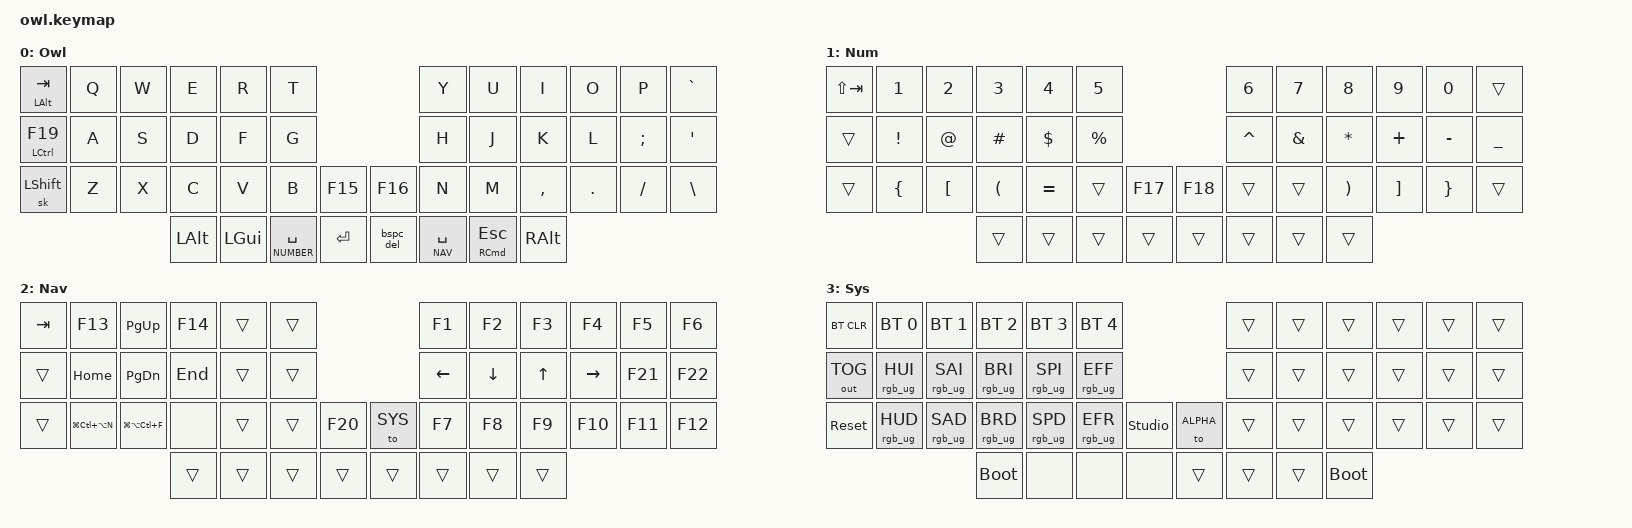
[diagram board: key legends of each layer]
/*
 * Copyright (c) 2020 The ZMK Contributors
 *
 * SPDX-License-Identifier: MIT
 */

#include <behaviors.dtsi>
#include <dt-bindings/zmk/bt.h>
#include <dt-bindings/zmk/keys.h>
#include <dt-bindings/zmk/outputs.h>
#include <dt-bindings/zmk/rgb.h>

#define ALPHA 0
#define NUMBER 1
#define NAV 2
#define SYS 3

&lt {
    flavor = "balanced";
    tapping-term-ms = <200>;
    quick-tap-ms = <175>;
    require-prior-idle-ms = <125>;
};

/ {
    behaviors {
        bspc_del: bspc_del {
            compatible = "zmk,behavior-mod-morph";
            #binding-cells = <0>;
            bindings = <&kp BACKSPACE>, <&kp DELETE>;
            mods = <(MOD_LSFT|MOD_RSFT)>;
            keep-mods = <0>;
        };
    };

    combos {
        compatible = "zmk,combos";

        combo_capsword {
            timeout-ms = <60>;
            require-prior-idle-ms = <125>;
            key-positions = <16 19>;
            bindings = <&caps_word>;
            layers = <ALPHA>;
        };

        combo_lbrc {
            timeout-ms = <45>;
            require-prior-idle-ms = <125>;
            key-positions = <25 26>;
            bindings = <&kp LBRC>;
            layers = <ALPHA>;
        };

        combo_lbkt {
            timeout-ms = <45>;
            require-prior-idle-ms = <125>;
            key-positions = <26 27>;
            bindings = <&kp LBKT>;
            layers = <ALPHA>;
        };

        combo_lpar {
            timeout-ms = <45>;
            require-prior-idle-ms = <125>;
            key-positions = <27 28>;
            bindings = <&kp LPAR>;
            layers = <ALPHA>;
        };

        combo_rpar {
            timeout-ms = <45>;
            require-prior-idle-ms = <125>;
            key-positions = <33 34>;
            bindings = <&kp RPAR>;
            layers = <ALPHA>;
        };

        combo_rbkt {
            timeout-ms = <45>;
            require-prior-idle-ms = <125>;
            key-positions = <34 35>;
            bindings = <&kp RBKT>;
            layers = <ALPHA>;
        };

        combo_rbrc {
            timeout-ms = <45>;
            require-prior-idle-ms = <125>;
            key-positions = <35 36>;
            bindings = <&kp RBRC>;
            layers = <ALPHA>;
        };
    };

    keymap {
        compatible = "zmk,keymap";

        alpha {
            display-name = "Owl";
            bindings = <
&mt LEFT_ALT TAB  &kp Q  &kp W  &kp E     &kp R     &kp T                          &kp Y        &kp U         &kp I      &kp O    &kp P     &kp GRAVE
&mt LCTRL F19     &kp A  &kp S  &kp D     &kp F     &kp G                          &kp H        &kp J         &kp K      &kp L    &kp SEMI  &kp SQT
&sk LSHFT         &kp Z  &kp X  &kp C     &kp V     &kp B        &kp F15  &kp F16  &kp N        &kp M         &kp COMMA  &kp DOT  &kp FSLH  &kp BSLH
                                &kp LALT  &kp LGUI  &lt NUMBER SPACE  &kp RET  &bspc_del  &lt NAV SPACE  &mt RCMD ESC  &kp RALT
            >;
        };

        number {
            display-name = "Num";
            bindings = <
&kp LS(TAB)  &kp N1           &kp N2       &kp N3                &kp N4      &kp N5                         &kp N6     &kp N7         &kp N8                 &kp N9    &kp N0           &trans
&trans       &kp EXCLAMATION  &kp AT_SIGN  &kp POUND             &kp DOLLAR  &kp PERCENT                    &kp CARET  &kp AMPERSAND  &kp ASTRK              &kp PLUS  &kp MINUS        &kp UNDERSCORE
&trans       &kp LEFT_BRACE   &kp LBKT     &kp LEFT_PARENTHESIS  &kp EQUAL   &trans       &kp F17  &kp F18  &trans     &trans         &kp RIGHT_PARENTHESIS  &kp RBKT  &kp RIGHT_BRACE  &trans
                                           &trans                &trans      &trans       &trans   &trans   &trans     &trans         &trans
            >;
        };

        navigation {
            display-name = "Nav";
            bindings = <
&kp TAB  &kp F13            &kp PG_UP          &kp F14  &trans  &trans                   &kp F1    &kp F2    &kp F3  &kp F4     &kp F5   &kp F6
&trans   &kp HOME           &kp PG_DN          &kp END  &trans  &trans                   &kp LEFT  &kp DOWN  &kp UP  &kp RIGHT  &kp F21   &kp F22
&trans   &kp LG(LC(LA(N)))  &kp LG(LA(LC(F)))  &none    &trans  &trans  &kp F20  &to SYS  &kp F7    &kp F8    &kp F9  &kp F10    &kp F11  &kp F12
                                               &trans   &trans  &trans  &trans   &trans  &trans    &trans    &trans
            >;
        };

        system {
            display-name = "Sys";
            bindings = <
&bt BT_CLR    &bt BT_SEL 0     &bt BT_SEL 1     &bt BT_SEL 2     &bt BT_SEL 3     &bt BT_SEL 4                                &trans  &trans  &trans  &trans  &trans  &trans
&out OUT_TOG  &rgb_ug RGB_HUI  &rgb_ug RGB_SAI  &rgb_ug RGB_BRI  &rgb_ug RGB_SPI  &rgb_ug RGB_EFF                             &trans     &trans  &trans  &trans  &trans  &trans
&sys_reset    &rgb_ug RGB_HUD  &rgb_ug RGB_SAD  &rgb_ug RGB_BRD  &rgb_ug RGB_SPD  &rgb_ug RGB_EFR  &studio_unlock  &to ALPHA  &trans  &trans  &trans  &trans  &trans  &trans
                                                &bootloader      &none            &none            &none           &trans     &trans  &trans  &bootloader
            >;
        };
    };
};
